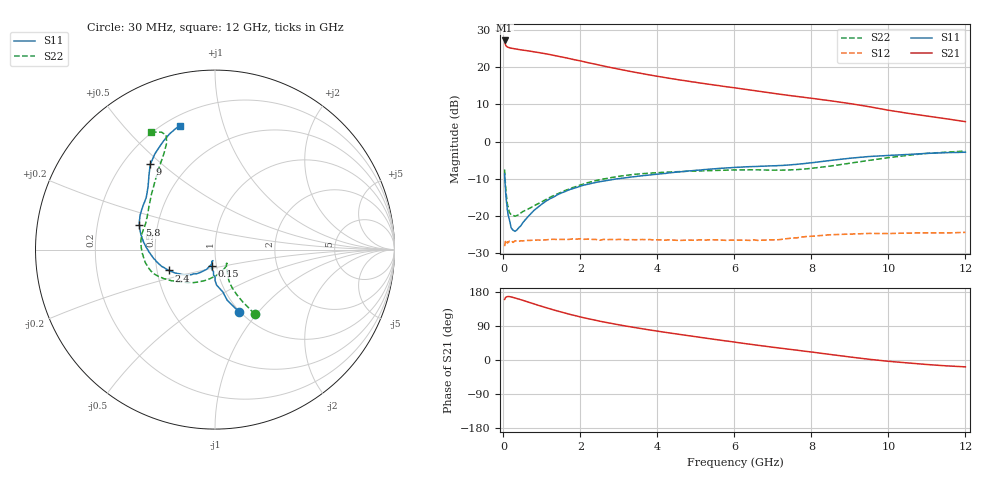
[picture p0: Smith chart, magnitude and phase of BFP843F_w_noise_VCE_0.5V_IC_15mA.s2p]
! Infineon Technologies  Discrete & RF Semiconductors
! BFP843F
! VCE =  0.5 V,  IC =  15 mA
! Common Emitter S-Parameters:  Aug 2013
# GHz  S  MA  R  50
!  f  S11  S21  S12  S22
! GHz  MAG  ANG  MAG  ANG  MAG  ANG  MAG  ANG
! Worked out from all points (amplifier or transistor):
!   103 points, 30 MHz to 12 GHz, reference 50 ohm
!   highest |S21| = 27.1 dB at 30 MHz (marker M1)
!   |S21| within 3 dB of that: start of sweep to 763.9 MHz
!   unconditionally stable (mu >= 1): 192.4 MHz to 804.7 MHz; 2.387 GHz to end of sweep
!   at 400 MHz: K = 1.01, MAG = 25.0 dB, |S12| = -26.8 dB
!   at 3.7 GHz: K = 1.10, MAG = 20.2 dB, |S12| = -26.3 dB
!   at 12 GHz: K = 1.36, MAG = 11.3 dB, |S12| = -24.4 dB
!   lowest NFmin = 0.84 dB at 450 MHz
!   S11 on the Smith chart (normalised r, x): 30 MHz: 0.99, -0.79; 150 MHz: 0.95, -0.17; 2.4 GHz: 0.58, -0.15; 5.8 GHz: 0.39, +0.13; 9 GHz: 0.31, +0.46; 12 GHz: 0.25, +0.72
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0.03  0.3705 -69.0  22.72 159.9  0.0394 23.9  0.4212 -58.4
0.04  0.2893 -76.5  21.07 161.3  0.0421 21.9  0.3283 -62.1
0.05  0.241 -79.4  20.03 164.2  0.0456 17.0  0.2785 -64.2
0.07  0.1718 -90.0  19.16 166.1  0.0456 11.6  0.2006 -66.1
0.11  0.1145 -97.9  18.53 167.5  0.0449 9.4  0.1376 -60.5
0.15  0.0914 -101.5  18.21 167.4  0.0461 7.9  0.113 -56.0
0.7  0.106 -110.4  16.28 151.0  0.0471 3.3  0.1286 -74.8
1.1  0.1579 -124.5  15.04 138.3  0.0479 3.2  0.1666 -100.9
1.3  0.1793 -131.1  14.36 132.2  0.0487 3.2  0.1875 -111.0
1.6  0.213 -139.0  13.36 123.9  0.0486 1.9  0.2202 -123.2
2.1  0.2611 -150.5  11.75 111.2  0.0487 1.3  0.2711 -138.5
2.4  0.2822 -155.7  10.87 104.7  0.0485 1.8  0.2991 -144.6
2.7  0.3004 -160.5  10.05 98.5  0.0482 1.4  0.3204 -149.4
3.2  0.3275 -167.2  8.925 89.2  0.048 2.1  0.3527 -155.6
4.1  0.3698 -178.4  7.359 74.6  0.0477 2.7  0.3845 -164.8
4.8  0.4023 173.4  6.441 64.2  0.0477 4.4  0.3996 -172.1
5.8  0.4427 162.1  5.433 50.0  0.047 6.2  0.4127 176.8
6.1  0.4513 158.8  5.175 45.8  0.0476 6.6  0.4156 173.4
8.5  0.5576 131.2  3.52 14.5  0.0561 11.8  0.4691 139.0
9  0.5963 127.2  3.231 8.0  0.0572 10.4  0.5114 130.5
10.5  0.6701 115.3  2.396 -7.7  0.0591 8.8  0.652 114.4
12  0.7177 105.8  1.849 -18.1  0.0604 11.6  0.745 118.5
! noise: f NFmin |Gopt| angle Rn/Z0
0.45  0.84  0.02  165  0.04
0.9  0.84  0.02  143  0.05
1.5  0.88  0.03  139  0.05
1.9  0.92  0.05  146  0.05
2.4  0.96  0.06  153  0.08
3.5  1.02  0.09  167  0.13
5.5  1.12  0.17  -157  0.21
10  1.65  0.37  -108  0.31
